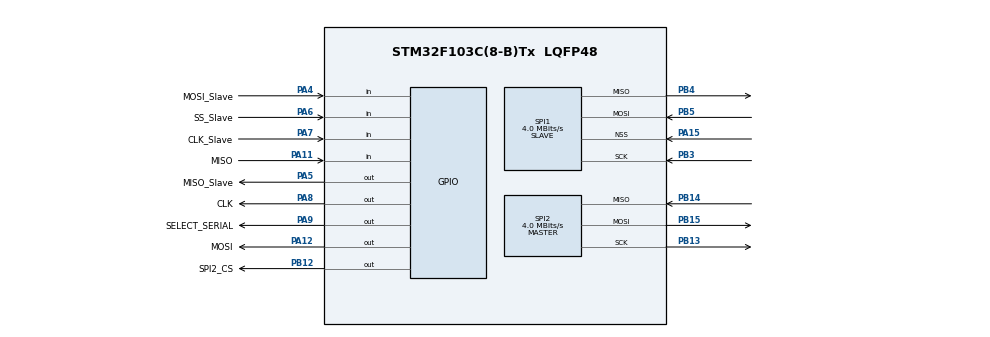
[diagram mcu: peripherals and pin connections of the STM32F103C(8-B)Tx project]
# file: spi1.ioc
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Mcu.Family=STM32F1
Mcu.Name=STM32F103C(8-B)Tx
Mcu.Package=LQFP48
NVIC.PriorityGroup=NVIC_PRIORITYGROUP_4
NVIC.SPI1_IRQn=true\:0\:0\:false\:false\:true\:true\:true
NVIC.SPI2_IRQn=true\:0\:0\:false\:false\:true\:true\:true
PA11.GPIO_Label=MISO
PA11.Signal=GPIO_Input
PA12.GPIO_Label=MOSI
PA12.Signal=GPIO_Output
PA13.Mode=Serial_Wire
PA13.Signal=SYS_JTMS-SWDIO
PA14.Mode=Serial_Wire
PA14.Signal=SYS_JTCK-SWCLK
PA15.Mode=NSS_Signal_Hard_Input
PA15.Signal=SPI1_NSS
PA4.GPIO_Label=MOSI_Slave
PA4.Signal=GPIO_Input
PA5.GPIO_Label=MISO_Slave
PA5.Signal=GPIO_Output
PA6.GPIO_Label=SS_Slave
PA6.Signal=GPIO_Input
PA7.GPIO_Label=CLK_Slave
PA7.Signal=GPIO_Input
PA8.GPIO_Label=CLK
PA8.Signal=GPIO_Output
PA9.GPIO_Label=SELECT_SERIAL
PA9.Signal=GPIO_Output
PB12.GPIO_Label=SPI2_CS
PB12.PinState=GPIO_PIN_SET
PB12.Signal=GPIO_Output
PB13.Mode=Full_Duplex_Master
PB13.Signal=SPI2_SCK
PB14.Mode=Full_Duplex_Master
PB14.Signal=SPI2_MISO
PB15.Mode=Full_Duplex_Master
PB15.Signal=SPI2_MOSI
PB3.Mode=Full_Duplex_Slave
PB3.Signal=SPI1_SCK
PB4.Mode=Full_Duplex_Slave
PB4.Signal=SPI1_MISO
PB5.Mode=Full_Duplex_Slave
PB5.Signal=SPI1_MOSI
ProjectManager.HeapSize=0x200
ProjectManager.StackSize=0x400
ProjectManager.TargetToolchain=STM32CubeIDE
RCC.APB1Freq_Value=8000000
RCC.APB2Freq_Value=8000000
SPI1.CalculateBaudRate=4.0 MBits/s
SPI1.Direction=SPI_DIRECTION_2LINES
SPI1.Mode=SPI_MODE_SLAVE
SPI1.VirtualNSS=VM_NSSHARD
SPI1.VirtualType=VM_SLAVE
SPI2.CalculateBaudRate=4.0 MBits/s
SPI2.Direction=SPI_DIRECTION_2LINES
SPI2.Mode=SPI_MODE_MASTER
SPI2.VirtualType=VM_MASTER
board=custom

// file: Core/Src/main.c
/* USER CODE BEGIN Header */
/**
  ******************************************************************************
  * @file           : main.c
  * @brief          : Main program body
  ******************************************************************************
  * @attention
  *
  * <h2><center>&copy; Copyright (c) 2023 STMicroelectronics.
  * All rights reserved.</center></h2>
  *
  * This software component is licensed by ST under BSD 3-Clause license,
  * the "License"; You may not use this file except in compliance with the
  * License. You may obtain a copy of the License at:
  *                        opensource.org/licenses/BSD-3-Clause
  *
  ******************************************************************************
  */
/* USER CODE END Header */
#include "main.h"

/* USER CODE BEGIN Includes */
#include "stdio.h"
#include "string.h"
#include "master.h"
//#include "slave.h"

#define sizeOfBuffer 10

uint8_t spiSlaveRX = 0b00000000;
uint8_t spiSlaveTX[sizeOfBuffer] = "a";
uint8_t data_Slave;

char rxBuffer[sizeOfBuffer];
char txBuffer[sizeOfBuffer];
uint8_t RX_Index = 0, Tx_index = 0;
/* USER CODE END Includes */

SPI_HandleTypeDef hspi1;
SPI_HandleTypeDef hspi2;

void SystemClock_Config(void);
static void MX_GPIO_Init(void);
static void MX_SPI1_Init(void);
static void MX_SPI2_Init(void);

/* USER CODE BEGIN 0 */
void HAL_SPI_RxCpltCallback(SPI_HandleTypeDef *hspi)
{
  /* Prevent unused argument(s) compilation warning */
  UNUSED(hspi);
  if (hspi->Instance == SPI1) {

	  rxBuffer[RX_Index] = spiSlaveRX;
	  RX_Index++;
	  if(RX_Index == sizeOfBuffer)
	  	{
	  		RX_Index=0;
	  		uint8_t i=0;
	  		for(i=0;i<sizeOfBuffer;i++)
	  		{
	  			rxBuffer[i]=0;
	  		}
	  	}
	  HAL_SPI_Receive_IT(&hspi1, &spiSlaveRX, 1);
  }
  /* NOTE : This function should not be modified, when the callback is needed,
            the HAL_SPI_RxCpltCallback should be implemented in the user file
   */
}

void HAL_SPI_TxRxCpltCallback(SPI_HandleTypeDef *hspi) {
	UNUSED(hspi);
	if(hspi->Instance == SPI1) {
//		txBuffer[Tx_index] = spiSlaveTX;
//		Tx_index++;
//		if (Tx_index == sizeOfBuffer) {
//			Tx_index = 0;
//			for(uint8_t i = 0; i < sizeOfBuffer; i++) {
//				txBuffer[i] = 0;
//			}
//		}
		HAL_SPI_Transmit_IT(&hspi1, spiSlaveTX, 1);
	}
};

/*
* Function: digitalWirte
* Description: set mode in signal pin for port A
* Input:
* 	  pinMode - uint8_t
* 	  value - uint8_t
* Output:
* 	  None
*/
void digitalWirte(uint8_t pinMode, uint8_t value) {
  	if(value == MODE_HIGH) GPIOA->BSRR = 1 << pinMode; //set to high level
  	else  GPIOA->BRR = 1 << pinMode; //Reset to low level
};

/*
* Function: SPIInit
* Description: init status of signal port
* Input:
* 	  None
* Output:
* 	  None
*/
void SPIInit(){
  	digitalWirte(CLK, MODE_LOW);
  	digitalWirte(MOSI, MODE_LOW);
//  	digitalWirte(MISO, MODE_LOW);
  	digitalWirte(SELECT_SERIAL, MODE_HIGH);
};

/*
* Function: clockSPIGenerate
* Description: Generate clock for SPI
* Input:
* 	  None
* Output:
* 	  None
*/
 void clockSPIGenerate(){
  	digitalWirte(CLK, MODE_HIGH);
  	HAL_Delay(100);
  	digitalWirte(CLK, MODE_LOW);
  	HAL_Delay(100);
};
/*
* Function: SPISlaveStatus
* Description: set status for slave to transmit or receive data
* Input:
* 	  mode - uint8_t
* Output:
* 	  None
*/
void SPISlaveStatus(uint8_t mode){
	digitalWirte(SELECT_SERIAL, mode);
};
/*
* Function: SPITransmitData
* Description: transmit data from master to slave
* Input:
* 	  data - uint8_t
* Output:
* 	  None
*/
void SPITransmitData(uint8_t data) {
  	uint8_t bit;
  	SPISlaveStatus(MODE_LOW);
  	for(bit = 0; bit < 8; bit++) {
  		digitalWirte(MOSI, (data & 0x80) ? MODE_HIGH : MODE_LOW);
  		clockSPIGenerate();
  		data <<= 1; //or data = data << 1;
  	}
  	SPISlaveStatus(MODE_HIGH);
};

/*
* Function: SPIReceiveData
* Description: Receive data from slave to master
* Input:
* 	  None
* Output:
* 	  Return: Rx_data from slave
*/
uint8_t SPIReceiveData() {
  	uint8_t Rx_data = 0b000000;
  	SPISlaveStatus(MODE_LOW);
  	for(uint8_t i = 0; i < 8; i++) {
  		digitalWirte(MOSI, MODE_LOW);
  		Rx_data <<= 1;
  		clockSPIGenerate();
//  		int a = HAL_GPIO_ReadPin(GPIOA, MISO);
  		Rx_data |= HAL_GPIO_ReadPin(GPIOA, MISO);
  	}
  	SPISlaveStatus(MODE_HIGH);
  	return Rx_data;
};

/*
* Function: SPITransmitDataSlave
* Description: transmit data from slave to master
* Input:
* 	  data - uint8_t
* Output:
* 	  None
*/
void SPITransmitDataSlave(uint8_t data) {
  	uint8_t bit;
  	SPISlaveStatus(MODE_LOW);
  	for(bit = 0; bit < 8; bit++) {
  		digitalWirte(MOSI, (data & 0x80) ? MODE_HIGH : MODE_LOW);
  		clockSPIGenerate();
  		data <<= 1; //or data = data << 1;
  	}
  	SPISlaveStatus(MODE_HIGH);
};

/*
* Function: SPIReceiveDataSlave
* Description: Receive data from master to slave
* Input:
* 	  None
* Output:
* 	  Return: Rx_data from slave
*/
uint8_t SPIReceiveDataSlave() {
  	uint8_t Rx_data = 0b000000;
  	SPISlaveStatus(MODE_LOW);
  	for(uint8_t i = 0; i < 8; i++) {
  		digitalWirte(MOSI, MODE_LOW);
  		Rx_data <<= 1;
  		clockSPIGenerate();
//  		int a = HAL_GPIO_ReadPin(GPIOA, MISO);
  		Rx_data |= HAL_GPIO_ReadPin(GPIOA, MISO);
  	}
  	SPISlaveStatus(MODE_HIGH);
  	return Rx_data;
};

/* USER CODE END 0 */

int main(void)
{

  /* MCU Configuration--------------------------------------------------------*/

  /* Reset of all peripherals, Initializes the Flash interface and the Systick. */
  HAL_Init();

  /* Configure the system clock */
  SystemClock_Config();

  /* Initialize all configured peripherals */
  MX_GPIO_Init();
  MX_SPI1_Init();
  MX_SPI2_Init();
  /* USER CODE BEGIN 2 */
  SPIInit();
  clockSPIGenerate();
//  SPITransmitData(spiMasterTX);
//  HAL_SPI_Transmit_IT(&hspi2, spiSlaveTX, 1);
//  SPIReceiveData();
  HAL_SPI_Receive_IT(&hspi1, &spiSlaveRX, 1);

  /* USER CODE END 2 */

  /* Infinite loop */
    while (1)
    {
		#if 1
			 for(uint8_t i = 'a'; i < 'z'; i++) {
				  SPITransmitData(i);
				  printf("data send from master to slave: %c\n", i);
				  HAL_Delay(100);
			  }
		#endif
		#if 0
			data_Slave = SPIReceiveData();
			printf("data receive from slave is: %c", data_Slave);
			HAL_Delay(100);
		#endif
		#if 0

		#endif

        }
}

void SystemClock_Config(void)
{
  RCC_OscInitTypeDef RCC_OscInitStruct = {0};
  RCC_ClkInitTypeDef RCC_ClkInitStruct = {0};

  /** Initializes the RCC Oscillators according to the specified parameters
  * in the RCC_OscInitTypeDef structure.
  */
  RCC_OscInitStruct.OscillatorType = RCC_OSCILLATORTYPE_HSI;
  RCC_OscInitStruct.HSIState = RCC_HSI_ON;
  RCC_OscInitStruct.HSICalibrationValue = RCC_HSICALIBRATION_DEFAULT;
  RCC_OscInitStruct.PLL.PLLState = RCC_PLL_NONE;
  if (HAL_RCC_OscConfig(&RCC_OscInitStruct) != HAL_OK)
  {
    Error_Handler();
  }
  /** Initializes the CPU, AHB and APB buses clocks
  */
  RCC_ClkInitStruct.ClockType = RCC_CLOCKTYPE_HCLK|RCC_CLOCKTYPE_SYSCLK
                              |RCC_CLOCKTYPE_PCLK1|RCC_CLOCKTYPE_PCLK2;
  RCC_ClkInitStruct.SYSCLKSource = RCC_SYSCLKSOURCE_HSI;
  RCC_ClkInitStruct.AHBCLKDivider = RCC_SYSCLK_DIV1;
  RCC_ClkInitStruct.APB1CLKDivider = RCC_HCLK_DIV1;
  RCC_ClkInitStruct.APB2CLKDivider = RCC_HCLK_DIV1;

  if (HAL_RCC_ClockConfig(&RCC_ClkInitStruct, FLASH_LATENCY_0) != HAL_OK)
  {
    Error_Handler();
  }
}

static void MX_SPI1_Init(void)
{

  /* SPI1 parameter configuration*/
  hspi1.Instance = SPI1;
  hspi1.Init.Mode = SPI_MODE_SLAVE;
  hspi1.Init.Direction = SPI_DIRECTION_2LINES;
  hspi1.Init.DataSize = SPI_DATASIZE_8BIT;
  hspi1.Init.CLKPolarity = SPI_POLARITY_LOW;
  hspi1.Init.CLKPhase = SPI_PHASE_1EDGE;
  hspi1.Init.NSS = SPI_NSS_HARD_INPUT;
  hspi1.Init.BaudRatePrescaler = SPI_BAUDRATEPRESCALER_2;
  hspi1.Init.FirstBit = SPI_FIRSTBIT_MSB;
  hspi1.Init.TIMode = SPI_TIMODE_DISABLE;
  hspi1.Init.CRCCalculation = SPI_CRCCALCULATION_DISABLE;
  hspi1.Init.CRCPolynomial = 10;
  if (HAL_SPI_Init(&hspi1) != HAL_OK)
  {
    Error_Handler();
  }

}

static void MX_SPI2_Init(void)
{

  /* SPI2 parameter configuration*/
  hspi2.Instance = SPI2;
  hspi2.Init.Mode = SPI_MODE_MASTER;
  hspi2.Init.Direction = SPI_DIRECTION_2LINES;
  hspi2.Init.DataSize = SPI_DATASIZE_8BIT;
  hspi2.Init.CLKPolarity = SPI_POLARITY_LOW;
  hspi2.Init.CLKPhase = SPI_PHASE_1EDGE;
  hspi2.Init.NSS = SPI_NSS_SOFT;
  hspi2.Init.BaudRatePrescaler = SPI_BAUDRATEPRESCALER_2;
  hspi2.Init.FirstBit = SPI_FIRSTBIT_MSB;
  hspi2.Init.TIMode = SPI_TIMODE_DISABLE;
  hspi2.Init.CRCCalculation = SPI_CRCCALCULATION_DISABLE;
  hspi2.Init.CRCPolynomial = 10;
  if (HAL_SPI_Init(&hspi2) != HAL_OK)
  {
    Error_Handler();
  }

}

static void MX_GPIO_Init(void)
{
  GPIO_InitTypeDef GPIO_InitStruct = {0};

  /* GPIO Ports Clock Enable */
  __HAL_RCC_GPIOA_CLK_ENABLE();
  __HAL_RCC_GPIOB_CLK_ENABLE();

  /*Configure GPIO pin Output Level */
  HAL_GPIO_WritePin(GPIOA, MISO_Slave_Pin|CLK_Pin|SELECT_SERIAL_Pin|MOSI_Pin, GPIO_PIN_RESET);

  /*Configure GPIO pin Output Level */
  HAL_GPIO_WritePin(SPI2_CS_GPIO_Port, SPI2_CS_Pin, GPIO_PIN_SET);

  /*Configure GPIO pins : MOSI_Slave_Pin SS_Slave_Pin CLK_Slave_Pin MISO_Pin */
  GPIO_InitStruct.Pin = MOSI_Slave_Pin|SS_Slave_Pin|CLK_Slave_Pin|MISO_Pin;
  GPIO_InitStruct.Mode = GPIO_MODE_INPUT;
  GPIO_InitStruct.Pull = GPIO_NOPULL;
  HAL_GPIO_Init(GPIOA, &GPIO_InitStruct);

  /*Configure GPIO pins : MISO_Slave_Pin CLK_Pin SELECT_SERIAL_Pin MOSI_Pin */
  GPIO_InitStruct.Pin = MISO_Slave_Pin|CLK_Pin|SELECT_SERIAL_Pin|MOSI_Pin;
  GPIO_InitStruct.Mode = GPIO_MODE_OUTPUT_PP;
  GPIO_InitStruct.Pull = GPIO_NOPULL;
  GPIO_InitStruct.Speed = GPIO_SPEED_FREQ_LOW;
  HAL_GPIO_Init(GPIOA, &GPIO_InitStruct);

  /*Configure GPIO pin : SPI2_CS_Pin */
  GPIO_InitStruct.Pin = SPI2_CS_Pin;
  GPIO_InitStruct.Mode = GPIO_MODE_OUTPUT_PP;
  GPIO_InitStruct.Pull = GPIO_NOPULL;
  GPIO_InitStruct.Speed = GPIO_SPEED_FREQ_LOW;
  HAL_GPIO_Init(SPI2_CS_GPIO_Port, &GPIO_InitStruct);

}

void Error_Handler(void)
{
}

/************************ (C) COPYRIGHT STMicroelectronics *****END OF FILE****/
